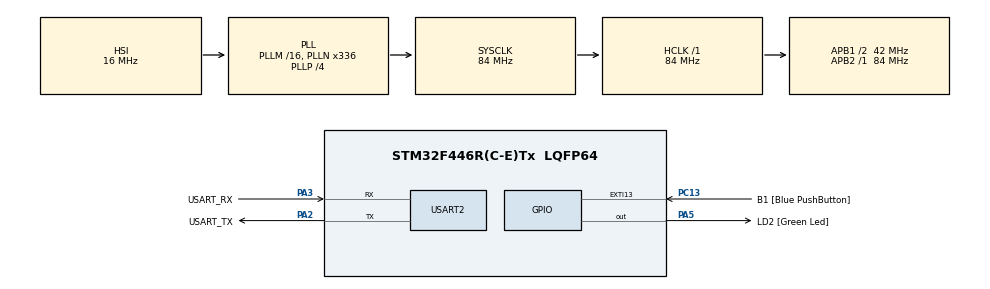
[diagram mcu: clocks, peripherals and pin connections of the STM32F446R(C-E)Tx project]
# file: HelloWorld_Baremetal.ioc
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Mcu.Family=STM32F4
Mcu.Name=STM32F446R(C-E)Tx
Mcu.Package=LQFP64
NVIC.PriorityGroup=NVIC_PRIORITYGROUP_4
NVIC.TIM6_DAC_IRQn=true\:15\:0\:false\:false\:true\:false\:true\:true
NVIC.TimeBase=TIM6_DAC_IRQn
NVIC.TimeBaseIP=TIM6
PA13.GPIO_Label=TMS
PA13.Signal=SYS_JTMS-SWDIO
PA14.GPIO_Label=TCK
PA14.Signal=SYS_JTCK-SWCLK
PA2.GPIO_Label=USART_TX
PA2.Mode=Asynchronous
PA2.Signal=USART2_TX
PA3.GPIO_Label=USART_RX
PA3.Mode=Asynchronous
PA3.Signal=USART2_RX
PA5.GPIO_Label=LD2 [Green Led]
PA5.Signal=GPIO_Output
PB3.GPIO_Label=SWO
PB3.Signal=SYS_JTDO-SWO
PC13.GPIO_Label=B1 [Blue PushButton]
PC13.GPIO_ModeDefaultEXTI=GPIO_MODE_IT_FALLING
PC13.Signal=GPXTI13
PC14-OSC32_IN.Signal=RCC_OSC32_IN
PC15-OSC32_OUT.Signal=RCC_OSC32_OUT
PH0-OSC_IN.Signal=RCC_OSC_IN
PH1-OSC_OUT.Signal=RCC_OSC_OUT
ProjectManager.HeapSize=0x200
ProjectManager.StackSize=0x400
ProjectManager.TargetToolchain=STM32CubeIDE
RCC.AHBFreq_Value=84000000
RCC.APB1CLKDivider=RCC_HCLK_DIV2
RCC.APB1Freq_Value=42000000
RCC.APB1TimFreq_Value=84000000
RCC.APB2Freq_Value=84000000
RCC.APB2TimFreq_Value=84000000
RCC.CortexFreq_Value=84000000
RCC.FLatency-AdvancedSettings=FLASH_LATENCY_2
RCC.HCLKFreq_Value=84000000
RCC.HSE_VALUE=8000000
RCC.HSI_VALUE=16000000
RCC.LSE_VALUE=32768
RCC.PLLN=336
RCC.PLLP=RCC_PLLP_DIV4
RCC.SYSCLKFreq_VALUE=84000000
RCC.SYSCLKSource=RCC_SYSCLKSOURCE_PLLCLK
RCC.USBFreq_Value=168000000
RCC.VCOOutputFreq_Value=336000000
USART2.VirtualMode=VM_ASYNC
VP_SYS_VS_tim6.Mode=TIM6
board=NUCLEO-F446RE

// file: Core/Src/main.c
/* USER CODE BEGIN Header */
/**
  ******************************************************************************
  * @file           : main.c
  * @brief          : Main program body
  ******************************************************************************
  * @attention
  *
  * Copyright (c) 2024 STMicroelectronics.
  * All rights reserved.
  *
  * This software is licensed under terms that can be found in the LICENSE file
  * in the root directory of this software component.
  * If no LICENSE file comes with this software, it is provided AS-IS.
  *
  ******************************************************************************
  */
/* USER CODE END Header */
#include "main.h"
#include "usart.h"
#include "gpio.h"

/* USER CODE BEGIN Includes */
#include "FreeRTOS.h"
#include "task.h"
#include <stdint.h>
/* USER CODE END Includes */

/* USER CODE BEGIN PD */
#define mainTASK_PRIORITY    ( tskIDLE_PRIORITY + 2 )
/* USER CODE END PD */

void SystemClock_Config(void);
/* USER CODE BEGIN PFP */
void vTaskFunction1(void *pvParameters);
void vTaskFunction2(void *pvParameters);
void vTaskFunction3(void *pvParameters);
/* USER CODE END PFP */

int main(void)
{

  /* MCU Configuration--------------------------------------------------------*/

  /* Reset of all peripherals, Initializes the Flash interface and the Systick. */
  HAL_Init();

  /* Configure the system clock */
  SystemClock_Config();

  /* Initialize all configured peripherals */
  MX_GPIO_Init();
  MX_USART2_UART_Init();
  /* USER CODE BEGIN 2 */
//  xTaskCreate(
//    		// Function which implements the task
//    		vTaskFunction1,
//    		// Name of the task (debug purposes, not used by the kernel)
//    		"Task1",
//    		// Stack to allocate to the task
//    		configMINIMAL_STACK_SIZE,
//    		// Parameter passed to the task. Not needed for Hello World example
//    		NULL,
//    		// Priority assigned to the task
//    		mainTASK_PRIORITY,
//    		// Task handle. Not required
//    		NULL
//    	);

//  xTaskCreate(
//    		// Function which implements the task
//    		vTaskFunction2,
//    		// Name of the task (debug purposes, not used by the kernel)
//    		"Task2",
//    		// Stack to allocate to the task
//    		configMINIMAL_STACK_SIZE,
//    		// Parameter passed to the task. Not needed for Hello World example
//    		NULL,
//    		// Priority assigned to the task
//    		mainTASK_PRIORITY,
//    		// Task handle. Not required
//    		NULL
//    	);
  xTaskCreate(
    		// Function which implements the task
    		vTaskFunction3,
    		// Name of the task (debug purposes, not used by the kernel)
    		"Task3",
    		// Stack to allocate to the task
    		configMINIMAL_STACK_SIZE + 1250,
    		// Parameter passed to the task. Not needed for Hello World example
    		NULL,
    		// Priority assigned to the task
    		mainTASK_PRIORITY,
    		// Task handle. Not required
    		NULL
    	);
  // Give control to the scheduler
  vTaskStartScheduler();

  /* USER CODE END 2 */

  /* Infinite loop */
  while (1)
  {

  }
}

void SystemClock_Config(void)
{
  RCC_OscInitTypeDef RCC_OscInitStruct = {0};
  RCC_ClkInitTypeDef RCC_ClkInitStruct = {0};

  /** Configure the main internal regulator output voltage
  */
  __HAL_RCC_PWR_CLK_ENABLE();
  __HAL_PWR_VOLTAGESCALING_CONFIG(PWR_REGULATOR_VOLTAGE_SCALE3);

  /** Initializes the RCC Oscillators according to the specified parameters
  * in the RCC_OscInitTypeDef structure.
  */
  RCC_OscInitStruct.OscillatorType = RCC_OSCILLATORTYPE_HSI;
  RCC_OscInitStruct.HSIState = RCC_HSI_ON;
  RCC_OscInitStruct.HSICalibrationValue = RCC_HSICALIBRATION_DEFAULT;
  RCC_OscInitStruct.PLL.PLLState = RCC_PLL_ON;
  RCC_OscInitStruct.PLL.PLLSource = RCC_PLLSOURCE_HSI;
  RCC_OscInitStruct.PLL.PLLM = 16;
  RCC_OscInitStruct.PLL.PLLN = 336;
  RCC_OscInitStruct.PLL.PLLP = RCC_PLLP_DIV4;
  RCC_OscInitStruct.PLL.PLLQ = 2;
  RCC_OscInitStruct.PLL.PLLR = 2;
  if (HAL_RCC_OscConfig(&RCC_OscInitStruct) != HAL_OK)
  {
    Error_Handler();
  }

  /** Initializes the CPU, AHB and APB buses clocks
  */
  RCC_ClkInitStruct.ClockType = RCC_CLOCKTYPE_HCLK|RCC_CLOCKTYPE_SYSCLK
                              |RCC_CLOCKTYPE_PCLK1|RCC_CLOCKTYPE_PCLK2;
  RCC_ClkInitStruct.SYSCLKSource = RCC_SYSCLKSOURCE_PLLCLK;
  RCC_ClkInitStruct.AHBCLKDivider = RCC_SYSCLK_DIV1;
  RCC_ClkInitStruct.APB1CLKDivider = RCC_HCLK_DIV2;
  RCC_ClkInitStruct.APB2CLKDivider = RCC_HCLK_DIV1;

  if (HAL_RCC_ClockConfig(&RCC_ClkInitStruct, FLASH_LATENCY_2) != HAL_OK)
  {
    Error_Handler();
  }
}

/* USER CODE BEGIN 4 */
void vTaskFunction3(void *pvParameters) {

	// Avoid warning about unused pvParameters
	(void) pvParameters;
	//uint8_t str[] = "Hello world!\r\n";

    for (;;) {
        // Task code: print a message
    	for (int i = 0; i < 3; ++i) {
    		HAL_GPIO_TogglePin(GPIOA, GPIO_PIN_5);
			vTaskDelay(pdMS_TO_TICKS(500));
			HAL_GPIO_TogglePin(GPIOA, GPIO_PIN_5);
			vTaskDelay(pdMS_TO_TICKS(250));
		}
    	for (int i = 0; i < 3; ++i) {
			HAL_GPIO_TogglePin(GPIOA, GPIO_PIN_5);
			vTaskDelay(pdMS_TO_TICKS(1500));
			HAL_GPIO_TogglePin(GPIOA, GPIO_PIN_5);
			vTaskDelay(pdMS_TO_TICKS(250));
    	}
    	for (int i = 0; i < 3; ++i) {
			HAL_GPIO_TogglePin(GPIOA, GPIO_PIN_5);
			vTaskDelay(pdMS_TO_TICKS(500));
			HAL_GPIO_TogglePin(GPIOA, GPIO_PIN_5);
			vTaskDelay(pdMS_TO_TICKS(250));
    	}
    }
}

void vTaskFunction2(void *pvParameters) {

	// Avoid warning about unused pvParameters
	(void) pvParameters;
	//uint8_t str[] = "Hello world!\r\n";
	HAL_UART_Transmit(&huart2, (uint8_t*)"Start\r\n", 7, 1000);
    for (;;) {
        // Task code: print a message
    	if (HAL_GPIO_ReadPin(GPIOC, GPIO_PIN_13) == GPIO_PIN_RESET) {
    		HAL_GPIO_WritePin(GPIOA, GPIO_PIN_5, GPIO_PIN_SET);
		}else{
			HAL_GPIO_WritePin(GPIOA, GPIO_PIN_5, GPIO_PIN_RESET);
		}
    }
}
void vTaskFunction1(void *pvParameters) {

	// Avoid warning about unused pvParameters
	(void) pvParameters;
	//uint8_t str[] = "Hello world!\r\n";
    HAL_UART_Transmit(&huart2, (uint8_t*)"Start\r\n", 7, 1000);
    vTaskDelay(pdMS_TO_TICKS(1000));
    uint8_t clicks [50]= {0};
    for (;;) {
      //memset(clicks, 0, 5000*sizeof(uint8_t));
      // Task code: print a message
      HAL_UART_Transmit(&huart2, (uint8_t*)"Start recording\r\n", 17, 1000);
      vTaskDelay(pdMS_TO_TICKS(1000));
      HAL_GPIO_WritePin(GPIOA, GPIO_PIN_5, GPIO_PIN_RESET);

      int i = 0;
      while(i < 50){
          clicks[i++] = HAL_GPIO_ReadPin(GPIOC, GPIO_PIN_13);
          vTaskDelay(pdMS_TO_TICKS(100));
      }
      HAL_UART_Transmit(&huart2, (uint8_t*)"Stop Recording\r\n", 16, 1000);
      vTaskDelay(pdMS_TO_TICKS(1000));
      for (int j = 0; j < 50; ++j) {
         HAL_GPIO_WritePin(GPIOA, GPIO_PIN_5, !clicks[j]);
         vTaskDelay(pdMS_TO_TICKS(100));
      }
    }
}

void HAL_GPIO_EXTI_Callback(uint16_t GPIO_Pin){
	HAL_UART_Transmit(&huart2, (uint8_t*)"Hello world!\r\n", 14, 1000);
}
/* USER CODE END 4 */

void HAL_TIM_PeriodElapsedCallback(TIM_HandleTypeDef *htim)
{
  if (htim->Instance == TIM6) {
    HAL_IncTick();
  }
}

void Error_Handler(void)
{
  __disable_irq();
  while (1)
  {
  }
}
